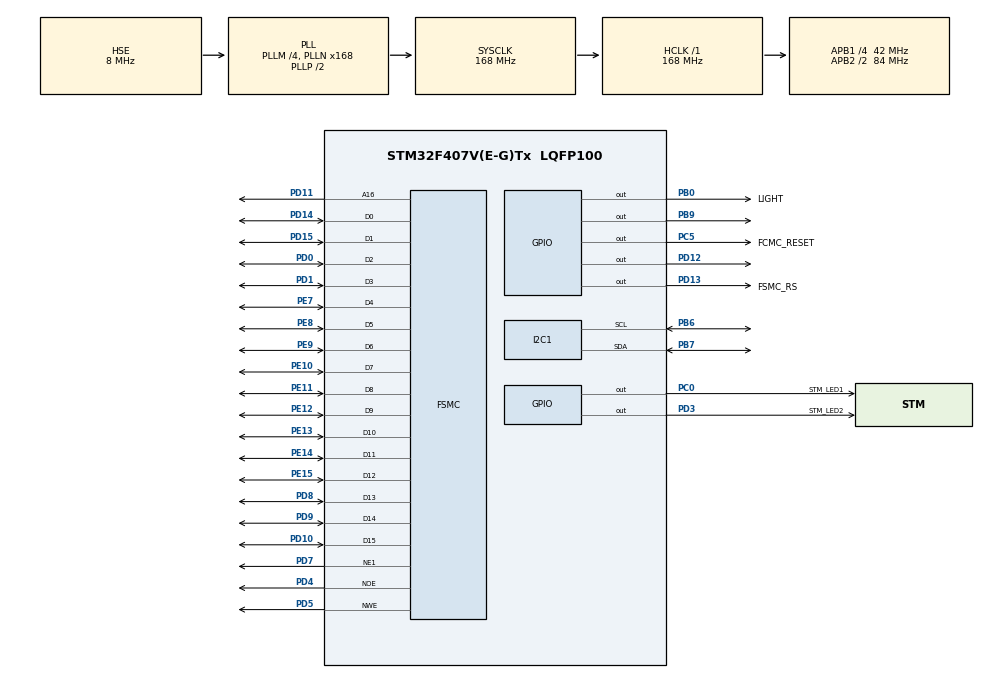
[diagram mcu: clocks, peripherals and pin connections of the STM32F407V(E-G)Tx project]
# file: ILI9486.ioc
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FSMC.AddressSetupTime1=10
FSMC.DataSetupTime1=15
FSMC.ExtendedMode1=FSMC_EXTENDED_MODE_DISABLE
Mcu.Family=STM32F4
Mcu.Name=STM32F407V(E-G)Tx
Mcu.Package=LQFP100
NVIC.PriorityGroup=NVIC_PRIORITYGROUP_4
PB0.GPIO_Label=LIGHT
PB0.Signal=GPIO_Output
PB6.Mode=I2C
PB6.Signal=I2C1_SCL
PB7.Mode=I2C
PB7.Signal=I2C1_SDA
PB9.Signal=GPIO_Output
PC0.GPIO_Label=STM_LED1
PC0.Signal=GPIO_Output
PC5.GPIO_Label=FCMC_RESET
PC5.Signal=GPIO_Output
PD0.Mode=16b-d1
PD0.Signal=FSMC_D2
PD1.Mode=16b-d1
PD1.Signal=FSMC_D3
PD10.Mode=16b-d1
PD10.Signal=FSMC_D15
PD11.Mode=A16_1
PD11.Signal=FSMC_A16
PD12.Signal=GPIO_Output
PD13.GPIO_Label=FSMC_RS
PD13.Signal=GPIO_Output
PD14.Mode=16b-d1
PD14.Signal=FSMC_D0
PD15.Mode=16b-d1
PD15.Signal=FSMC_D1
PD3.GPIO_Label=STM_LED2
PD3.Signal=GPIO_Output
PD4.Mode=Lcd1
PD4.Signal=FSMC_NOE
PD5.Mode=Lcd1
PD5.Signal=FSMC_NWE
PD7.Mode=NorPsramChipSelect1_1
PD7.Signal=FSMC_NE1
PD8.Mode=16b-d1
PD8.Signal=FSMC_D13
PD9.Mode=16b-d1
PD9.Signal=FSMC_D14
PE10.Mode=16b-d1
PE10.Signal=FSMC_D7
PE11.Mode=16b-d1
PE11.Signal=FSMC_D8
PE12.Mode=16b-d1
PE12.Signal=FSMC_D9
PE13.Mode=16b-d1
PE13.Signal=FSMC_D10
PE14.Mode=16b-d1
PE14.Signal=FSMC_D11
PE15.Mode=16b-d1
PE15.Signal=FSMC_D12
PE7.Mode=16b-d1
PE7.Signal=FSMC_D4
PE8.Mode=16b-d1
PE8.Signal=FSMC_D5
PE9.Mode=16b-d1
PE9.Signal=FSMC_D6
PH0-OSC_IN.Mode=HSE-External-Oscillator
PH0-OSC_IN.Signal=RCC_OSC_IN
PH1-OSC_OUT.Mode=HSE-External-Oscillator
PH1-OSC_OUT.Signal=RCC_OSC_OUT
ProjectManager.HeapSize=0x200
ProjectManager.StackSize=0x400
ProjectManager.TargetToolchain=Makefile
RCC.48MHZClocksFreq_Value=48000000
RCC.AHBFreq_Value=168000000
RCC.APB1CLKDivider=RCC_HCLK_DIV4
RCC.APB1Freq_Value=42000000
RCC.APB1TimFreq_Value=84000000
RCC.APB2CLKDivider=RCC_HCLK_DIV2
RCC.APB2Freq_Value=84000000
RCC.APB2TimFreq_Value=168000000
RCC.CortexFreq_Value=168000000
RCC.HCLKFreq_Value=168000000
RCC.HSE_VALUE=8000000
RCC.HSI_VALUE=16000000
RCC.LSE_VALUE=32768
RCC.PLLM=4
RCC.PLLN=168
RCC.PLLQ=7
RCC.PLLSourceVirtual=RCC_PLLSOURCE_HSE
RCC.SYSCLKFreq_VALUE=168000000
RCC.SYSCLKSource=RCC_SYSCLKSOURCE_PLLCLK
RCC.VCOOutputFreq_Value=336000000
VP_RNG_VS_RNG.Mode=RNG_Activate
board=ILI9486

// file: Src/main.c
/* USER CODE BEGIN Header */
/**
  ******************************************************************************
  * @file           : main.c
  * @brief          : Main program body
  ******************************************************************************
  * @attention
  *
  * <h2><center>&copy; Copyright (c) 2020 STMicroelectronics.
  * All rights reserved.</center></h2>
  *
  * This software component is licensed by ST under BSD 3-Clause license,
  * the "License"; You may not use this file except in compliance with the
  * License. You may obtain a copy of the License at:
  *                        opensource.org/licenses/BSD-3-Clause
  *
  ******************************************************************************
  */
/* USER CODE END Header */

#include "main.h"
#include "i2c.h"
#include "rng.h"
#include "gpio.h"
#include "fsmc.h"

/* USER CODE BEGIN Includes */
#include <math.h>
#include "stdint.h"
#include "ili9486.h"

#define M_PI 3.14159
/* USER CODE END Includes */

/* USER CODE BEGIN PV */
/* Private variables ---------------------------------------------------------*/
extern uint16_t BACK_COLOR,POINT_COLOR;
extern uint16_t tft_W;
extern uint16_t tft_H;

/* USER CODE END PV */

void SystemClock_Config(void);
/* USER CODE BEGIN PFP */
/* Private function prototypes -----------------------------------------------*/
/* USER CODE END PFP */

/* USER CODE BEGIN 0 */
//------------------------------------
__STATIC_INLINE void DelayMicro(uint32_t __IO micros)
{
  micros *=(SystemCoreClock/1000000)/5;
  while(micros--);
}

//------------------------------------

/* USER CODE END 0 */

int main(void)
{
  /* USER CODE BEGIN 1 */
  //char str[100];
	uint16_t i,j;
  /* USER CODE END 1 */

  /* MCU Configuration--------------------------------------------------------*/

  /* Reset of all peripherals, Initializes the Flash interface and the Systick. */
  HAL_Init();

  /* Configure the system clock */
  SystemClock_Config();

  /* Initialize all configured peripherals */
  MX_GPIO_Init();
  MX_FSMC_Init();
  MX_I2C1_Init();
  MX_RNG_Init();
  /* USER CODE BEGIN 2 */
  //LCD_ini();
  //LCD_Clear();

  HAL_GPIO_WritePin(STM_LED1_GPIO_Port, STM_LED1_Pin, GPIO_PIN_RESET); // LED1
  HAL_GPIO_WritePin(STM_LED2_GPIO_Port, STM_LED2_Pin, GPIO_PIN_RESET); // LED2
  HAL_GPIO_WritePin(LIGHT_GPIO_Port, LIGHT_Pin, GPIO_PIN_SET); // LIGHT

  tft_ini();
  tft_clear(RED);
  HAL_Delay(1000);
  tft_clear(BLACK);

  tft_SetRotation(1);
  /* USER CODE END 2 */

  /* Infinite loop */
  /* USER CODE BEGIN WHILE */

  // create grid
  for(uint16_t i = 5; i<tft_H-5; i+=30)
  {
   tft_DrawLine(COLOR_GRAY, 5, i, tft_W-5, i);
  }

  for(uint16_t i = 5; i<tft_W-5; i+=30)
  {
   tft_DrawLine(COLOR_GRAY, i, 5, i, tft_H-5);
  }

  BACK_COLOR=BLACK;
  POINT_COLOR=BLUE;
  tft_putchar26x48(90,20,'A',TFT_STRING_MODE_BACKGROUND);
  BACK_COLOR=BLACK;
  POINT_COLOR=YELLOW;
  tft_putchar26x48(160,20,'B',TFT_STRING_MODE_BACKGROUND);
  tft_puts26x48(200,10,(int8_t*)"STM32F407",TFT_STRING_MODE_NO_BACKGROUND);
  tft_puts14x24(150,10,(int8_t*)"STM32F407",TFT_STRING_MODE_NO_BACKGROUND);
  tft_puts18x32(100,10,(int8_t*)"STM32F407",TFT_STRING_MODE_NO_BACKGROUND);
  HAL_Delay(3000);

//     tft_DrawLine(color, x1, y1, x2, y2);

  while (1)
  {
    for(float i = 0; i < tft_W; i+=0.1) // count point
    {
      tft_DrawPixel(i, 80*sin(30*0.2*M_PI*i/180)+120,  COLOR_GREEN);
    }
    HAL_Delay(3000);

    for(uint16_t i = 0; i < tft_W; i++)
    {
      tft_DrawPixel(i, 95*sin(5*0.2*M_PI*i/180)+120,  COLOR_YELLOW);
    }
    HAL_Delay(3000);

    for(i=0;i<15000;i++)
    {
      tft_DrawPixel(HAL_RNG_GetRandomNumber(&hrng)%tft_W, HAL_RNG_GetRandomNumber(&hrng)%tft_H, tft_RandColor());
      DelayMicro(100);
    }

    tft_FillScreen(BLACK);
    HAL_Delay(250);

    for(j=0;j<20;j++)
    {
      for(i=0;i<tft_W;i++)
      {
        tft_DrawLine(tft_RandColor(),i,0,i,tft_H-1);
      }
    }

    tft_FillScreen(BLACK);
    HAL_Delay(250);

    for(i=0;i<1000;i++)
    {
      tft_DrawLine(tft_RandColor(),
      HAL_RNG_GetRandomNumber(&hrng)%tft_W,
      HAL_RNG_GetRandomNumber(&hrng)%tft_H,
      HAL_RNG_GetRandomNumber(&hrng)%tft_W,
      HAL_RNG_GetRandomNumber(&hrng)%tft_H);
      HAL_Delay(10);
    }

    tft_FillScreen(BLACK);
    HAL_Delay(250);

    for(j=0;j<20;j++)
    {
      for(i=0;i<tft_W/2;i++)
      {
        tft_DrawRect(tft_RandColor(), i, i, tft_W-i-1, tft_H-i-1);
      }
    }

    tft_FillScreen(BLACK);
    HAL_Delay(250);

    for(i=0;i<2000;i++)
    {
      tft_DrawCircle(HAL_RNG_GetRandomNumber(&hrng)%(tft_W-40)+20,
      HAL_RNG_GetRandomNumber(&hrng)%(tft_H-40)+20,
      20,tft_RandColor());
      HAL_Delay(3);
    }

    tft_FillScreen(BLACK);
    HAL_Delay(250);

    /* USER CODE END WHILE */

  }
}

void SystemClock_Config(void)
{
  RCC_OscInitTypeDef RCC_OscInitStruct = {0};
  RCC_ClkInitTypeDef RCC_ClkInitStruct = {0};

  /** Configure the main internal regulator output voltage
  */
  __HAL_RCC_PWR_CLK_ENABLE();
  __HAL_PWR_VOLTAGESCALING_CONFIG(PWR_REGULATOR_VOLTAGE_SCALE1);
  /** Initializes the CPU, AHB and APB busses clocks
  */
  RCC_OscInitStruct.OscillatorType = RCC_OSCILLATORTYPE_HSE;
  RCC_OscInitStruct.HSEState = RCC_HSE_ON;
  RCC_OscInitStruct.PLL.PLLState = RCC_PLL_ON;
  RCC_OscInitStruct.PLL.PLLSource = RCC_PLLSOURCE_HSE;
  RCC_OscInitStruct.PLL.PLLM = 4;
  RCC_OscInitStruct.PLL.PLLN = 168;
  RCC_OscInitStruct.PLL.PLLP = RCC_PLLP_DIV2;
  RCC_OscInitStruct.PLL.PLLQ = 7;
  if (HAL_RCC_OscConfig(&RCC_OscInitStruct) != HAL_OK)
  {
    Error_Handler();
  }
  /** Initializes the CPU, AHB and APB busses clocks
  */
  RCC_ClkInitStruct.ClockType = RCC_CLOCKTYPE_HCLK|RCC_CLOCKTYPE_SYSCLK
                              |RCC_CLOCKTYPE_PCLK1|RCC_CLOCKTYPE_PCLK2;
  RCC_ClkInitStruct.SYSCLKSource = RCC_SYSCLKSOURCE_PLLCLK;
  RCC_ClkInitStruct.AHBCLKDivider = RCC_SYSCLK_DIV1;
  RCC_ClkInitStruct.APB1CLKDivider = RCC_HCLK_DIV4;
  RCC_ClkInitStruct.APB2CLKDivider = RCC_HCLK_DIV2;

  if (HAL_RCC_ClockConfig(&RCC_ClkInitStruct, FLASH_LATENCY_5) != HAL_OK)
  {
    Error_Handler();
  }
}

void Error_Handler(void)
{
  while(1)
  {
  }
}

/************************ (C) COPYRIGHT STMicroelectronics *****END OF FILE****/
